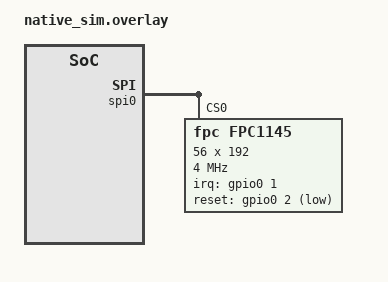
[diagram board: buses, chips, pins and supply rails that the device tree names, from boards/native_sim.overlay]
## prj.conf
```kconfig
<<<<<<< HEAD   (453fd99d5363bf9651b2fb0d3ffbbab7386a6376 program,zmake: drop cmsis references)
# Copyright 2024 The ChromiumOS Authors
# Use of this source code is governed by a BSD-style license that can be
# found in the LICENSE file.

CONFIG_ZTEST=y
CONFIG_EMUL=y
CONFIG_GPIO=y
CONFIG_SPI=y
CONFIG_PM_DEVICE=y
CONFIG_FINGERPRINT_SENSOR=y
CONFIG_FINGERPRINT_SENSOR_FPC1145_PAL=y
CONFIG_APPLICATION_DEFINED_SYSCALL=y
CONFIG_UART_NATIVE_PTY_0_ON_STDINOUT=y
||||||| BASE   (0cb93ccd933607defa9592c423c9a9fb4946fd4d anakin: Set PDC source PDO overcurrent capability)
# Copyright 2024 The ChromiumOS Authors
# Use of this source code is governed by a BSD-style license that can be
# found in the LICENSE file.

CONFIG_ZTEST=y
CONFIG_EMUL=y
CONFIG_GPIO=y
CONFIG_SPI=y
CONFIG_PM_DEVICE=y
CONFIG_FINGERPRINT_SENSOR=y
CONFIG_FINGERPRINT_SENSOR_FPC1145_PAL=y
CONFIG_APPLICATION_DEFINED_SYSCALL=y
CONFIG_NATIVE_UART_0_ON_STDINOUT=y
=======
>>>>>>> BRANCH (86da3bbeafeffe5727f5bfec7d9eed87995f2661 UPSTREAM: driver: add new ALS CM36781 driver code)
```

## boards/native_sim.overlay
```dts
<<<<<<< HEAD   (453fd99d5363bf9651b2fb0d3ffbbab7386a6376 program,zmake: drop cmsis references)
/* Copyright 2024 The ChromiumOS Authors
 * Use of this source code is governed by a BSD-style license that can be
 * found in the LICENSE file.
 */

#define FPC1145_COMMON_IMAGE_PROPS \
	width = <56>; \
	height = <192>; \
	bits-per-pixel = <8>; \
	frame-size = <10752>; \
	v4l2-pixel-format = "V4L2_PIX_FMT_GREY";

/ {
	chosen {
		cros-fp,fingerprint-sensor = &fpc1145;
	};
};

&spi0 {
	fpc1145: fpc1145@0 {
		compatible = "fpc,fpc1145";
		reg = <0>;
		spi-max-frequency = <4000000>;

		configs {
			compatible = "fingerprint-image-frame-params";
			config0 {
				FPC1145_COMMON_IMAGE_PROPS
				capture-type = "FINGERPRINT_CAPTURE_TYPE_VENDOR_FORMAT";
			};
			config1 {
				FPC1145_COMMON_IMAGE_PROPS
				capture-type = "FINGERPRINT_CAPTURE_TYPE_SIMPLE_IMAGE";
			};
			config2 {
				FPC1145_COMMON_IMAGE_PROPS
				capture-type = "FINGERPRINT_CAPTURE_TYPE_PATTERN0";
			};
			config3 {
				FPC1145_COMMON_IMAGE_PROPS
				capture-type = "FINGERPRINT_CAPTURE_TYPE_PATTERN1";
			};
			config4 {
				FPC1145_COMMON_IMAGE_PROPS
				capture-type = "FINGERPRINT_CAPTURE_TYPE_QUALITY_TEST";
			};
			config5 {
				FPC1145_COMMON_IMAGE_PROPS
				capture-type = "FINGERPRINT_CAPTURE_TYPE_RESET_TEST";
			};
		};

		irq-gpios = <&gpio0 1 (GPIO_ACTIVE_HIGH | GPIO_PULL_DOWN)>;
		reset-gpios = <&gpio0 2 GPIO_ACTIVE_LOW>;
	};
};
||||||| BASE   (0cb93ccd933607defa9592c423c9a9fb4946fd4d anakin: Set PDC source PDO overcurrent capability)
/* Copyright 2024 The ChromiumOS Authors
 * Use of this source code is governed by a BSD-style license that can be
 * found in the LICENSE file.
 */

/ {
	chosen {
		cros-fp,fingerprint-sensor = &fpc1145;
	};
};

&spi0 {
	fpc1145: fpc1145@0 {
		compatible = "fpc,fpc1145";
		reg = <0>;
		spi-max-frequency = <4000000>;

		width = <56>;
		height = <192>;
		bits-per-pixel = <8>;
		v4l2-pixel-format = "V4L2_PIX_FMT_GREY";

		irq-gpios = <&gpio0 1 (GPIO_ACTIVE_HIGH | GPIO_PULL_DOWN)>;
		reset-gpios = <&gpio0 2 GPIO_ACTIVE_LOW>;
	};
};
=======
>>>>>>> BRANCH (86da3bbeafeffe5727f5bfec7d9eed87995f2661 UPSTREAM: driver: add new ALS CM36781 driver code)
```

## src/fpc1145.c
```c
/* Copyright 2024 The ChromiumOS Authors
 * Use of this source code is governed by a BSD-style license that can be
 * found in the LICENSE file.
 */

#include "fpc1145_pal_test_helpers.h"

#include <zephyr/device.h>
#include <zephyr/devicetree.h>
#include <zephyr/drivers/emul.h>
#include <zephyr/drivers/gpio.h>
#include <zephyr/drivers/gpio/gpio_emul.h>
#include <zephyr/fff.h>
#include <zephyr/sys/byteorder.h>
#include <zephyr/sys/util.h>
#include <zephyr/ztest.h>
#include <zephyr/ztest_assert.h>

#include <drivers/fingerprint.h>
#include <emul/emul_fpc1145.h>
#include <fingerprint/v4l2_types.h>
#include <fingerprint_fpc1145_private.h>

DEFINE_FFF_GLOBALS;

struct fpc1145_fixture {
	const struct device *dev;
	const struct emul *target;
};

static void *fpc1145_setup(void)
{
	static struct fpc1145_fixture fixture = {
		.dev = DEVICE_DT_GET(DT_NODELABEL(fpc1145)),
		.target = EMUL_DT_GET(DT_NODELABEL(fpc1145)),
	};

	zassert_not_null(fixture.dev);
	zassert_not_null(fixture.target);
	return &fixture;
}

/* Converts capture types from the ec domain to the fpc domain. */
int convert_fp_capture_type_to_fpc_capture_type(int mode);

#define FPC1145_IMAGE_FRAME_PARAM_INITIALIZER(idx, node_id)                 \
	{                                                                   \
		.frame_size = FINGERPRINT_SENSOR_FRAME_SIZE(idx, node_id),  \
		.image_data_offset_bytes =                                  \
			FINGERPRINT_SENSOR_IMAGE_OFFSET(idx, node_id),      \
		.pixel_format =                                             \
			FINGERPRINT_SENSOR_V4L2_PIXEL_FORMAT(idx, node_id), \
		.width = FINGERPRINT_SENSOR_RES_X(idx, node_id),            \
		.height = FINGERPRINT_SENSOR_RES_Y(idx, node_id),           \
		.bpp = FINGERPRINT_SENSOR_RES_BPP(idx, node_id),            \
		.fp_capture_type =                                          \
			FINGERPRINT_SENSOR_CAPTURE_TYPE(idx, node_id),      \
		.reserved = 0,                                              \
	}

static const struct fingerprint_image_frame_params
	expected_image_frame_params_array[] = { LISTIFY(
		NUM_IMAGE_CAPTURE_TYPES, FPC1145_IMAGE_FRAME_PARAM_INITIALIZER,
		(, ), DT_NODELABEL(fpc1145)) };

ZTEST_SUITE(fpc1145, NULL, fpc1145_setup, NULL, NULL, NULL);

ZTEST_F(fpc1145, test_init_success)
{
	zassert_ok(fingerprint_init(fixture->dev));
	/*
	 * TODO(b/117620462): verify that sleep mode is WAI (no increased
	 * latency, expected power consumption).
	 */
	zassert_equal(fpc1145_get_low_power_mode(fixture->target), 0);
}

ZTEST_F(fpc1145, test_init_failure_bad_hwid)
{
	struct fingerprint_sensor_info sensor_info;
	struct fingerprint_image_frame_params
		image_frame_params_array[NUM_IMAGE_CAPTURE_TYPES];
	uint8_t num_params = NUM_IMAGE_CAPTURE_TYPES;

	fpc1145_set_hwid(fixture->target, 0x0);
	zassert_equal(fingerprint_init(fixture->dev), -EINVAL);
	zassert_ok(fingerprint_get_info(fixture->dev, &sensor_info,
					image_frame_params_array, &num_params));
	zassert_equal(sensor_info.errors,
		      (FINGERPRINT_ERROR_DEAD_PIXELS_UNKNOWN |
		       FINGERPRINT_ERROR_BAD_HWID |
		       FINGERPRINT_ERROR_INIT_FAIL));
}

ZTEST_F(fpc1145, test_init_failure_no_irq)
{
	struct fingerprint_sensor_info sensor_info;
	struct fingerprint_image_frame_params
		image_frame_params_array[NUM_IMAGE_CAPTURE_TYPES];
	uint8_t num_params = NUM_IMAGE_CAPTURE_TYPES;

	fpc1145_stop_irq(fixture->target);
	zassert_equal(fingerprint_init(fixture->dev), -EINVAL);
	zassert_ok(fingerprint_get_info(fixture->dev, &sensor_info,
					image_frame_params_array, &num_params));
	zassert_equal(sensor_info.errors,
		      (FINGERPRINT_ERROR_DEAD_PIXELS_UNKNOWN |
		       FINGERPRINT_ERROR_NO_IRQ | FINGERPRINT_ERROR_INIT_FAIL));
}

ZTEST_F(fpc1145, test_init_failure_spi)
{
	struct fingerprint_sensor_info sensor_info;
	struct fingerprint_image_frame_params
		image_frame_params_array[NUM_IMAGE_CAPTURE_TYPES];
	uint8_t num_params = NUM_IMAGE_CAPTURE_TYPES;

	fpc1145_stop_spi(fixture->target);
	zassert_equal(fingerprint_init(fixture->dev), -EINVAL);
	zassert_not_ok(fingerprint_get_info(fixture->dev, &sensor_info,
					    image_frame_params_array,
					    &num_params));
	fpc1145_start_spi(fixture->target);
	zassert_ok(fingerprint_get_info(fixture->dev, &sensor_info,
					image_frame_params_array, &num_params));
	zassert_equal(sensor_info.errors,
		      (FINGERPRINT_ERROR_DEAD_PIXELS_UNKNOWN |
		       FINGERPRINT_ERROR_SPI_COMM |
		       FINGERPRINT_ERROR_INIT_FAIL));
}

ZTEST_F(fpc1145, test_deinit_success)
{
	zassert_ok(fingerprint_deinit(fixture->dev));
}

ZTEST_F(fpc1145, test_get_info)
{
	struct fingerprint_sensor_info sensor_info;
	struct fingerprint_image_frame_params
		image_frame_params_array[NUM_IMAGE_CAPTURE_TYPES];
	uint8_t num_params = NUM_IMAGE_CAPTURE_TYPES;

	/* We need to initialize driver first to initialize 'error' field */
	zassert_ok(fingerprint_init(fixture->dev));
	zassert_ok(fingerprint_get_info(fixture->dev, &sensor_info,
					image_frame_params_array, &num_params));
	zassert_equal(
		num_params, NUM_IMAGE_CAPTURE_TYPES,
		"fingerprint_get_info returned an unexpected number of params");

	zassert_equal(sensor_info.vendor_id, FOURCC('F', 'P', 'C', ' '));
	zassert_equal(sensor_info.product_id, 9);
	/*
	 * Last 4 bits of hardware id is a year of sensor production,
	 * could differ between sensors.
	 */
	zassert_equal(sensor_info.model_id >> 4, 0x140);
	zassert_equal(sensor_info.version, 1);

	for (int i = 0; i < NUM_IMAGE_CAPTURE_TYPES; ++i) {
		zassert_equal(
			memcmp(&image_frame_params_array[i],
			       &expected_image_frame_params_array[i],
			       sizeof(struct fingerprint_image_frame_params)),
			0, "Struct comparison failed at index %d", i);
	}
}

FAKE_VOID_FUNC(test_interrupt_handler, const struct device *);

ZTEST_F(fpc1145, test_enter_low_power_mode)
{
	const struct gpio_dt_spec spec =
		GPIO_DT_SPEC_GET(DT_NODELABEL(fpc1145), irq_gpios);

	RESET_FAKE(test_interrupt_handler);
	zassert_ok(fingerprint_config(fixture->dev, test_interrupt_handler));

	/* Enable interrupt (they are disabled by default). */
	zassert_ok(gpio_pin_interrupt_configure_dt(&spec,
						   GPIO_INT_EDGE_TO_ACTIVE));

	zassert_ok(fingerprint_set_mode(fixture->dev,
					FINGERPRINT_SENSOR_MODE_LOW_POWER));
	/*
	 * TODO(b/117620462): verify that sleep mode is WAI (no increased
	 * latency, expected power consumption).
	 */
	zassert_equal(fpc1145_get_low_power_mode(fixture->target), 0);

	/*
	 * Toggle the GPIO. We expect that entering low power mode disabled
	 * the interrupt, so the handler should not be called.
	 */
	gpio_emul_input_set(spec.port, spec.pin, 1);
	k_msleep(5);
	gpio_emul_input_set(spec.port, spec.pin, 0);
	k_msleep(5);

	zassert_equal(test_interrupt_handler_fake.call_count, 0);
}

ZTEST_F(fpc1145, test_enter_idle)
{
	zassert_ok(fingerprint_set_mode(fixture->dev,
					FINGERPRINT_SENSOR_MODE_IDLE));
}

ZTEST_F(fpc1145, test_invalid_mode_not_supported)
{
	zassert_equal(fingerprint_set_mode(fixture->dev, UINT16_MAX), -ENOTSUP);
}

ZTEST_F(fpc1145, test_interrupt)
{
	const struct gpio_dt_spec spec =
		GPIO_DT_SPEC_GET(DT_NODELABEL(fpc1145), irq_gpios);

	RESET_FAKE(test_interrupt_handler);
	zassert_ok(fingerprint_config(fixture->dev, test_interrupt_handler));

	/* Enable interrupt (they are disabled by default). */
	zassert_ok(gpio_pin_interrupt_configure_dt(&spec,
						   GPIO_INT_EDGE_TO_ACTIVE));

	/*
	 * Toggle the GPIO twice. We expect that the driver will disable
	 * interrupt in interrupt handler, so handler should be called once.
	 */
	for (int i = 0; i < 2; i++) {
		gpio_emul_input_set(spec.port, spec.pin, 1);
		k_msleep(5);
		gpio_emul_input_set(spec.port, spec.pin, 0);
		k_msleep(5);
	}

	/* Verify the handler was called once. */
	zassert_equal(test_interrupt_handler_fake.call_count, 1);
}

ZTEST_F(fpc1145, test_maintenance_not_supported)
{
	uint8_t buffer[CONFIG_FINGERPRINT_SENSOR_IMAGE_SIZE];

	zassert_equal(fingerprint_maintenance(fixture->dev, buffer,
					      sizeof(buffer)),
		      -ENOTSUP);
}

ZTEST_F(fpc1145, test_finger_status_not_supported)
{
	zassert_equal(fingerprint_finger_status(fixture->dev), -ENOTSUP);
}

ZTEST_F(fpc1145, test_acquire_image_not_supported)
{
	uint8_t buffer[CONFIG_FINGERPRINT_SENSOR_IMAGE_SIZE];

	zassert_equal(fingerprint_acquire_image(fixture->dev, 0, buffer,
						sizeof(buffer)),
		      -ENOTSUP);
}

ZTEST_F(fpc1145, test_sensor_mode_detect_not_supported)
{
	zassert_equal(fingerprint_set_mode(fixture->dev,
					   FINGERPRINT_SENSOR_MODE_DETECT),
		      -ENOTSUP);
}

ZTEST_F(fpc1145, test_pal_spi_writeread)
{
	/*
	 * Prepare buffer with command and place for response.
	 * Sensor should return hardware id.
	 */
	uint8_t hwid_cmd_buf[] = { 0xFC, 0x00, 0x00 };
	uint16_t hwid;

	zassert_ok(fpc1145_pal_spi_writeread(NULL, hwid_cmd_buf, hwid_cmd_buf,
					     sizeof(hwid_cmd_buf)));
	/*
	 * Second and third bytes contain HWID. It's encoded in big endian so
	 * convert it cpu endianness.
	 */
	hwid = sys_be16_to_cpu(*(uint16_t *)&hwid_cmd_buf[1]);

	/*
	 * Last 4 bits of hardware id is a year of sensor production,
	 * could differ between sensors.
	 */
	zassert_equal(hwid >> 4, 0x140);
}

ZTEST_F(fpc1145, test_pal_wait_irq)
{
	/* TODO: b/72360575 */
	zassert_equal(fpc1145_pal_wait_irq(NULL, IRQ_INT_TRIG), 0);
}

ZTEST_F(fpc1145, test_pal_get_time)
{
	uint64_t time_us;
	fpc1145_pal_get_time(&time_us);
	zassert_equal(time_us, k_ticks_to_us_near64(k_uptime_ticks()));
}

ZTEST_F(fpc1145, test_pal_delay_us)
{
	uint64_t us = 30000;
	uint64_t tick_us = (1000 * 1000) / CONFIG_SYS_CLOCK_TICKS_PER_SEC;
	uint64_t t1, t2;

	fpc1145_pal_get_time(&t1);
	fpc1145_pal_delay_us(us);
	fpc1145_pal_get_time(&t2);

	zassert_within(t2 - t1, us, tick_us);
}

ZTEST_F(fpc1145, test_convert_fp_capture_type_to_fpc_capture_type)
{
	zassert_equal(convert_fp_capture_type_to_fpc_capture_type(
			      FINGERPRINT_CAPTURE_TYPE_VENDOR_FORMAT),
		      FPC_CAPTURE_VENDOR_FORMAT);
	zassert_equal(convert_fp_capture_type_to_fpc_capture_type(
			      FINGERPRINT_CAPTURE_TYPE_SIMPLE_IMAGE),
		      FPC_CAPTURE_SIMPLE_IMAGE);
	zassert_equal(convert_fp_capture_type_to_fpc_capture_type(
			      FINGERPRINT_CAPTURE_TYPE_PATTERN0),
		      FPC_CAPTURE_PATTERN0);
	zassert_equal(convert_fp_capture_type_to_fpc_capture_type(
			      FINGERPRINT_CAPTURE_TYPE_PATTERN1),
		      FPC_CAPTURE_PATTERN1);
	zassert_equal(convert_fp_capture_type_to_fpc_capture_type(
			      FINGERPRINT_CAPTURE_TYPE_QUALITY_TEST),
		      FPC_CAPTURE_QUALITY_TEST);
	zassert_equal(convert_fp_capture_type_to_fpc_capture_type(
			      FINGERPRINT_CAPTURE_TYPE_RESET_TEST),
		      FPC_CAPTURE_RESET_TEST);
	zassert_equal(convert_fp_capture_type_to_fpc_capture_type(
			      FINGERPRINT_CAPTURE_TYPE_MAX),
		      -EINVAL);
}

ZTEST_F(fpc1145, test_acquire_image_small_buffer_size)
{
	uint8_t buffer[CONFIG_FINGERPRINT_SENSOR_IMAGE_SIZE] = { 0 };
	size_t image_buf_size = CONFIG_FINGERPRINT_SENSOR_IMAGE_SIZE - 1;
	enum fingerprint_capture_type capture_type =
		FINGERPRINT_CAPTURE_TYPE_VENDOR_FORMAT;

	zassert_equal(fingerprint_acquire_image(fixture->dev, capture_type,
						buffer, image_buf_size),
		      -EINVAL);
}

ZTEST_F(fpc1145, test_acquire_image_wrong_capture_type)
{
	uint8_t buffer[CONFIG_FINGERPRINT_SENSOR_IMAGE_SIZE] = { 0 };
	enum fingerprint_capture_type capture_type =
		FINGERPRINT_CAPTURE_TYPE_MAX;

	zassert_equal(fingerprint_acquire_image(fixture->dev, capture_type,
						buffer, sizeof(buffer)),
		      -EINVAL);
}
```

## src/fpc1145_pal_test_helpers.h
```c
/* Copyright 2024 The ChromiumOS Authors
 * Use of this source code is governed by a BSD-style license that can be
 * found in the LICENSE file.
 */

#ifndef ZEPHYR_TEST_FINGERPRINT_DRIVERS_FPC1145_SRC_FPC1145_PAL_TEST_HELPERS_H_
#define ZEPHYR_TEST_FINGERPRINT_DRIVERS_FPC1145_SRC_FPC1145_PAL_TEST_HELPERS_H_

#include <zephyr/kernel.h>

#include <fingerprint_fpc1145_pal.h>

__syscall int fpc1145_pal_spi_writeread(fpc_device_t device, uint8_t *tx_buffer,
					uint8_t *rx_buffer, uint32_t size);
__syscall int fpc1145_pal_wait_irq(fpc_device_t device,
				   enum fpc_pal_irq irq_type);
__syscall int fpc1145_pal_get_time(uint64_t *time_us);
__syscall int fpc1145_pal_delay_us(uint64_t us);

#include <zephyr/syscalls/fpc1145_pal_test_helpers.h>

#endif // ZEPHYR_TEST_FINGERPRINT_DRIVERS_FPC1145_SRC_FPC1145_PAL_TEST_HELPERS_H_
```
